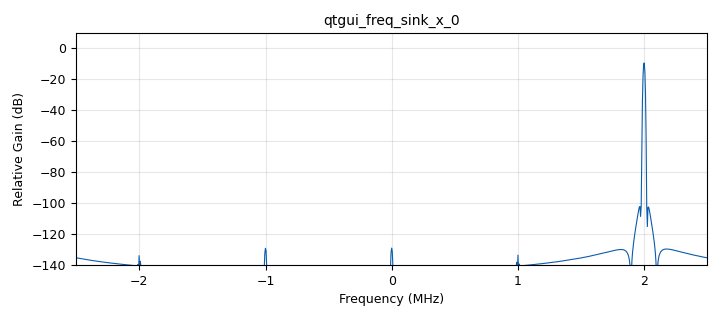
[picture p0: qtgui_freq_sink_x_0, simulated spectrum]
options:
  parameters:
    generate_options: qt_gui
    id: TX_1
    output_language: python
    title: tx-1
  states: {}

blocks:
- name: freq
  id: variable
  parameters:
    value: 2485e6
  states: {}
- name: gain
  id: variable
  parameters:
    value: '30'
  states: {}
- name: samp_rate
  id: variable
  parameters:
    value: 5e6
  states: {}
- name: analog_sig_source_x_0
  id: analog_sig_source_x
  parameters:
    amp: '1'
    freq: 2e6
    offset: '0'
    phase: '0'
    samp_rate: samp_rate
    type: complex
    waveform: analog.GR_SIN_WAVE
  states: {}
- name: qtgui_freq_sink_x_0
  id: qtgui_freq_sink_x
  parameters:
    bw: samp_rate
    fc: '0'
    fftsize: '1024'
    type: complex
    wintype: firdes.WIN_BLACKMAN_hARRIS
  states: {}
- name: uhd_usrp_sink_0
  id: uhd_usrp_sink
  parameters:
    ant0: TX/RX
    bw0: ''
    center_freq0: freq
    dev_addr: addr=192.168.10.2
    dev_args: '""'
    gain0: gain
    len_tag_name: ''
    norm_gain0: 'False'
    samp_rate: samp_rate
    sync: none
    type: fc32
  states: {}

connections:
- [analog_sig_source_x_0, '0', qtgui_freq_sink_x_0, '0']
- [analog_sig_source_x_0, '0', uhd_usrp_sink_0, '0']

metadata:
  file_format: 1
